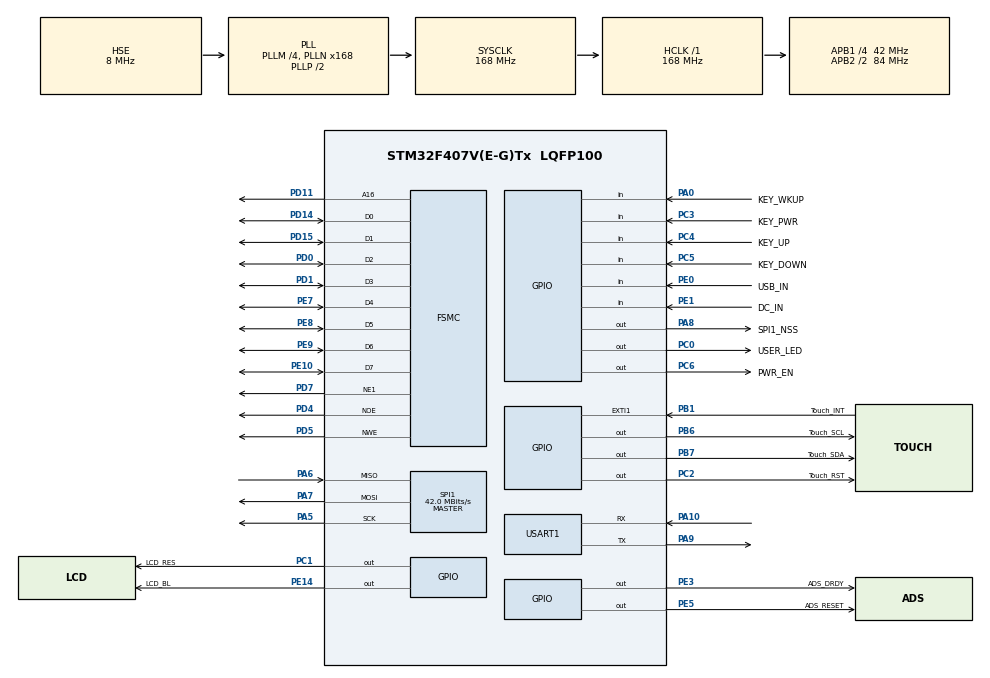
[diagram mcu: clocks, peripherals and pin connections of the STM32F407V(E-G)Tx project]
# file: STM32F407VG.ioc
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FSMC.AddressSetupTime1=1
FSMC.BusTurnAroundDuration1=1
FSMC.DataSetupTime1=5
FSMC.ExtendedAddressSetupTime1=1
FSMC.ExtendedBusTurnAroundDuration1=1
FSMC.ExtendedDataSetupTime1=2
FSMC.ExtendedMode1=FSMC_EXTENDED_MODE_ENABLE
Mcu.Family=STM32F4
Mcu.Name=STM32F407V(E-G)Tx
Mcu.Package=LQFP100
NVIC.EXTI1_IRQn=true\:3\:0\:true\:false\:true\:true\:true\:true
NVIC.PriorityGroup=NVIC_PRIORITYGROUP_4
NVIC.TIM2_IRQn=true\:2\:0\:true\:false\:true\:true\:true\:true
PA0-WKUP.GPIO_Label=KEY_WKUP
PA0-WKUP.GPIO_PuPd=GPIO_PULLUP
PA0-WKUP.Signal=GPIO_Input
PA10.Mode=Asynchronous
PA10.Signal=USART1_RX
PA13.Mode=Serial_Wire
PA13.Signal=SYS_JTMS-SWDIO
PA14.Mode=Serial_Wire
PA14.Signal=SYS_JTCK-SWCLK
PA5.Mode=Full_Duplex_Master
PA5.Signal=SPI1_SCK
PA6.Mode=Full_Duplex_Master
PA6.Signal=SPI1_MISO
PA7.Mode=Full_Duplex_Master
PA7.Signal=SPI1_MOSI
PA8.GPIO_Label=SPI1_NSS
PA8.GPIO_ModeDefaultOutputPP=GPIO_MODE_OUTPUT_PP
PA8.GPIO_PuPd=GPIO_PULLUP
PA8.GPIO_Speed=GPIO_SPEED_FREQ_VERY_HIGH
PA8.PinState=GPIO_PIN_SET
PA8.Signal=GPIO_Output
PA9.Mode=Asynchronous
PA9.Signal=USART1_TX
PB1.GPIO_Label=Touch_INT
PB1.GPIO_ModeDefaultEXTI=GPIO_MODE_IT_FALLING
PB1.GPIO_PuPd=GPIO_PULLUP
PB1.Signal=GPXTI1
PB6.GPIO_Label=Touch_SCL
PB6.GPIO_ModeDefaultOutputPP=GPIO_MODE_OUTPUT_OD
PB6.GPIO_PuPd=GPIO_PULLUP
PB6.GPIO_Speed=GPIO_SPEED_FREQ_VERY_HIGH
PB6.PinState=GPIO_PIN_SET
PB6.Signal=GPIO_Output
PB7.GPIO_Label=Touch_SDA
PB7.GPIO_ModeDefaultOutputPP=GPIO_MODE_OUTPUT_PP
PB7.GPIO_PuPd=GPIO_PULLUP
PB7.GPIO_Speed=GPIO_SPEED_FREQ_VERY_HIGH
PB7.PinState=GPIO_PIN_SET
PB7.Signal=GPIO_Output
PC0.GPIO_Label=USER_LED
PC0.GPIO_ModeDefaultOutputPP=GPIO_MODE_OUTPUT_PP
PC0.GPIO_PuPd=GPIO_PULLUP
PC0.GPIO_Speed=GPIO_SPEED_FREQ_VERY_HIGH
PC0.PinState=GPIO_PIN_SET
PC0.Signal=GPIO_Output
PC1.GPIO_Label=LCD_RES
PC1.GPIO_PuPd=GPIO_PULLUP
PC1.GPIO_Speed=GPIO_SPEED_FREQ_VERY_HIGH
PC1.PinState=GPIO_PIN_SET
PC1.Signal=GPIO_Output
PC14-OSC32_IN.Mode=LSE-External-Oscillator
PC14-OSC32_IN.Signal=RCC_OSC32_IN
PC15-OSC32_OUT.Mode=LSE-External-Oscillator
PC15-OSC32_OUT.Signal=RCC_OSC32_OUT
PC2.GPIO_Label=Touch_RST
PC2.GPIO_ModeDefaultOutputPP=GPIO_MODE_OUTPUT_PP
PC2.GPIO_PuPd=GPIO_PULLUP
PC2.GPIO_Speed=GPIO_SPEED_FREQ_VERY_HIGH
PC2.PinState=GPIO_PIN_SET
PC2.Signal=GPIO_Output
PC3.GPIO_Label=KEY_PWR
PC3.GPIO_PuPd=GPIO_PULLUP
PC3.Signal=GPIO_Input
PC4.GPIO_Label=KEY_UP
PC4.GPIO_PuPd=GPIO_PULLUP
PC4.Signal=GPIO_Input
PC5.GPIO_Label=KEY_DOWN
PC5.GPIO_PuPd=GPIO_PULLUP
PC5.Signal=GPIO_Input
PC6.GPIO_Label=PWR_EN
PC6.GPIO_PuPd=GPIO_PULLDOWN
PC6.GPIO_Speed=GPIO_SPEED_FREQ_VERY_HIGH
PC6.PinState=GPIO_PIN_RESET
PC6.Signal=GPIO_Output
PD0.Mode=8b-d1
PD0.Signal=FSMC_D2
PD1.Mode=8b-d1
PD1.Signal=FSMC_D3
PD11.Mode=A16_1
PD11.Signal=FSMC_A16
PD14.Mode=8b-d1
PD14.Signal=FSMC_D0
PD15.Mode=8b-d1
PD15.Signal=FSMC_D1
PD4.Mode=Lcd1
PD4.Signal=FSMC_NOE
PD5.Mode=Lcd1
PD5.Signal=FSMC_NWE
PD7.Mode=NorPsramChipSelect1_1
PD7.Signal=FSMC_NE1
PE0.GPIO_Label=USB_IN
PE0.GPIO_PuPd=GPIO_PULLDOWN
PE0.Signal=GPIO_Input
PE1.GPIO_Label=DC_IN
PE1.GPIO_PuPd=GPIO_PULLDOWN
PE1.Signal=GPIO_Input
PE10.Mode=8b-d1
PE10.Signal=FSMC_D7
PE14.GPIO_Label=LCD_BL
PE14.GPIO_ModeDefaultOutputPP=GPIO_MODE_OUTPUT_PP
PE14.GPIO_PuPd=GPIO_PULLDOWN
PE14.GPIO_Speed=GPIO_SPEED_FREQ_VERY_HIGH
PE14.PinState=GPIO_PIN_RESET
PE14.Signal=GPIO_Output
PE3.GPIO_Label=ADS_DRDY
PE3.GPIO_ModeDefaultOutputPP=GPIO_MODE_OUTPUT_PP
PE3.GPIO_PuPd=GPIO_PULLUP
PE3.GPIO_Speed=GPIO_SPEED_FREQ_VERY_HIGH
PE3.PinState=GPIO_PIN_SET
PE3.Signal=GPIO_Output
PE5.GPIO_Label=ADS_RESET
PE5.GPIO_ModeDefaultOutputPP=GPIO_MODE_OUTPUT_PP
PE5.GPIO_PuPd=GPIO_PULLUP
PE5.GPIO_Speed=GPIO_SPEED_FREQ_VERY_HIGH
PE5.PinState=GPIO_PIN_SET
PE5.Signal=GPIO_Output
PE7.Mode=8b-d1
PE7.Signal=FSMC_D4
PE8.Mode=8b-d1
PE8.Signal=FSMC_D5
PE9.Mode=8b-d1
PE9.Signal=FSMC_D6
PH0-OSC_IN.Mode=HSE-External-Oscillator
PH0-OSC_IN.Signal=RCC_OSC_IN
PH1-OSC_OUT.Mode=HSE-External-Oscillator
PH1-OSC_OUT.Signal=RCC_OSC_OUT
ProjectManager.HeapSize=0x200
ProjectManager.StackSize=0x400
ProjectManager.TargetToolchain=MDK-ARM V5.32
RCC.48MHZClocksFreq_Value=84000000
RCC.AHBFreq_Value=168000000
RCC.APB1CLKDivider=RCC_HCLK_DIV4
RCC.APB1Freq_Value=42000000
RCC.APB1TimFreq_Value=84000000
RCC.APB2CLKDivider=RCC_HCLK_DIV2
RCC.APB2Freq_Value=84000000
RCC.APB2TimFreq_Value=168000000
RCC.CortexFreq_Value=168000000
RCC.HCLKFreq_Value=168000000
RCC.HSE_VALUE=8000000
RCC.HSI_VALUE=16000000
RCC.PLLM=4
RCC.PLLN=168
RCC.PLLSourceVirtual=RCC_PLLSOURCE_HSE
RCC.SYSCLKFreq_VALUE=168000000
RCC.SYSCLKSource=RCC_SYSCLKSOURCE_PLLCLK
RCC.VCOOutputFreq_Value=336000000
SPI1.BaudRatePrescaler=SPI_BAUDRATEPRESCALER_2
SPI1.CLKPhase=SPI_PHASE_1EDGE
SPI1.CalculateBaudRate=42.0 MBits/s
SPI1.Direction=SPI_DIRECTION_2LINES
SPI1.Mode=SPI_MODE_MASTER
SPI1.VirtualType=VM_MASTER
TIM2.AutoReloadPreload=TIM_AUTORELOAD_PRELOAD_ENABLE
TIM2.Period=10-1
TIM2.Prescaler=8400-1
USART1.VirtualMode=VM_ASYNC
VP_TIM2_VS_ClockSourceINT.Mode=Internal
board=custom

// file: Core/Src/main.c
/* USER CODE BEGIN Header */
/**
  ******************************************************************************
  * @file           : main.c
  * @brief          : Main program body
  ******************************************************************************
  * @attention
  *
  * Copyright (c) 2022 STMicroelectronics.
  * All rights reserved.
  *
  * This software is licensed under terms that can be found in the LICENSE file
  * in the root directory of this software component.
  * If no LICENSE file comes with this software, it is provided AS-IS.
  *
  ******************************************************************************
  */
/* USER CODE END Header */
#include "main.h"
#include "spi.h"
#include "tim.h"
#include "usart.h"
#include "gpio.h"
#include "fsmc.h"

/* USER CODE BEGIN Includes */
#include "led.h"
#include "lcd.h"
#include "sys.h"
#include "delay.h"
#include "key.h"
#include "control.h"
#include "touch.h"
#include "lvgl.h"
#include "lv_port_disp.h"
#include "lv_port_indev.h"
#include "stm32f4xx_it.h"
#include "ads131A04.h"

#include "lv_demo_benchmark.h"
#include "lv_demo_music.h"
#include "lv_demo_widgets.h"
#include "lv_demo_stress.h"
/* USER CODE END Includes */

/* USER CODE BEGIN PD */

#define LVGL_ENABLE 0
/* USER CODE END PD */

void SystemClock_Config(void);

int main(void)
{
  /* USER CODE BEGIN 1 */
	u8 x=0;
	u16 color_data[21]={WHITE,BLACK,BLUE,BRED,GRED,GBLUE,RED,MAGENTA,GREEN,CYAN,YELLOW,BROWN,BRRED,GRAY,DARKBLUE,LIGHTBLUE,GRAYBLUE,LIGHTGREEN,LGRAY,LGRAYBLUE,LBBLUE};
  /* USER CODE END 1 */

  /* MCU Configuration--------------------------------------------------------*/

  /* Reset of all peripherals, Initializes the Flash interface and the Systick. */
  HAL_Init();

  /* Configure the system clock */
  SystemClock_Config();

  /* Initialize all configured peripherals */
  MX_GPIO_Init();
  MX_FSMC_Init();
  MX_USART1_UART_Init();
  MX_TIM2_Init();
  MX_SPI1_Init();
  /* USER CODE BEGIN 2 */
	delay_init(168);
//	KEY_PWR_Scanf();
//	LCD_Init();
//	cst026_init();
	ADS131_Init();
//	NVIC_Init();

#if LVGL_ENABLE
	lv_init();
	lv_port_disp_init();
	lv_port_indev_init();
	HAL_TIM_Base_Start_IT(&htim2);
  /* USER CODE END 2 */

  /* Infinite loop */
  /* USER CODE BEGIN WHILE */
//	lv_demo_benchmark();
//	lv_demo_music();
	lv_demo_widgets();
//	lv_demo_stress();
#endif
  while (1)
  {
		ADS131_GetValue();
		HAL_GPIO_TogglePin(USER_LED_GPIO_Port,USER_LED_Pin);
		delay_ms(500);
#if LVGL_ENABLE
		lv_timer_handler();
		led_off();
		delay_ms(5);
#endif

    /* USER CODE END WHILE */

  }
}

void SystemClock_Config(void)
{
  RCC_OscInitTypeDef RCC_OscInitStruct = {0};
  RCC_ClkInitTypeDef RCC_ClkInitStruct = {0};

  /** Configure the main internal regulator output voltage
  */
  __HAL_RCC_PWR_CLK_ENABLE();
  __HAL_PWR_VOLTAGESCALING_CONFIG(PWR_REGULATOR_VOLTAGE_SCALE1);

  /** Initializes the RCC Oscillators according to the specified parameters
  * in the RCC_OscInitTypeDef structure.
  */
  RCC_OscInitStruct.OscillatorType = RCC_OSCILLATORTYPE_HSE;
  RCC_OscInitStruct.HSEState = RCC_HSE_ON;
  RCC_OscInitStruct.PLL.PLLState = RCC_PLL_ON;
  RCC_OscInitStruct.PLL.PLLSource = RCC_PLLSOURCE_HSE;
  RCC_OscInitStruct.PLL.PLLM = 4;
  RCC_OscInitStruct.PLL.PLLN = 168;
  RCC_OscInitStruct.PLL.PLLP = RCC_PLLP_DIV2;
  RCC_OscInitStruct.PLL.PLLQ = 4;
  if (HAL_RCC_OscConfig(&RCC_OscInitStruct) != HAL_OK)
  {
    Error_Handler();
  }

  /** Initializes the CPU, AHB and APB buses clocks
  */
  RCC_ClkInitStruct.ClockType = RCC_CLOCKTYPE_HCLK|RCC_CLOCKTYPE_SYSCLK
                              |RCC_CLOCKTYPE_PCLK1|RCC_CLOCKTYPE_PCLK2;
  RCC_ClkInitStruct.SYSCLKSource = RCC_SYSCLKSOURCE_PLLCLK;
  RCC_ClkInitStruct.AHBCLKDivider = RCC_SYSCLK_DIV1;
  RCC_ClkInitStruct.APB1CLKDivider = RCC_HCLK_DIV4;
  RCC_ClkInitStruct.APB2CLKDivider = RCC_HCLK_DIV2;

  if (HAL_RCC_ClockConfig(&RCC_ClkInitStruct, FLASH_LATENCY_5) != HAL_OK)
  {
    Error_Handler();
  }
}

void Error_Handler(void)
{
  __disable_irq();
  while (1)
  {
  }
}
